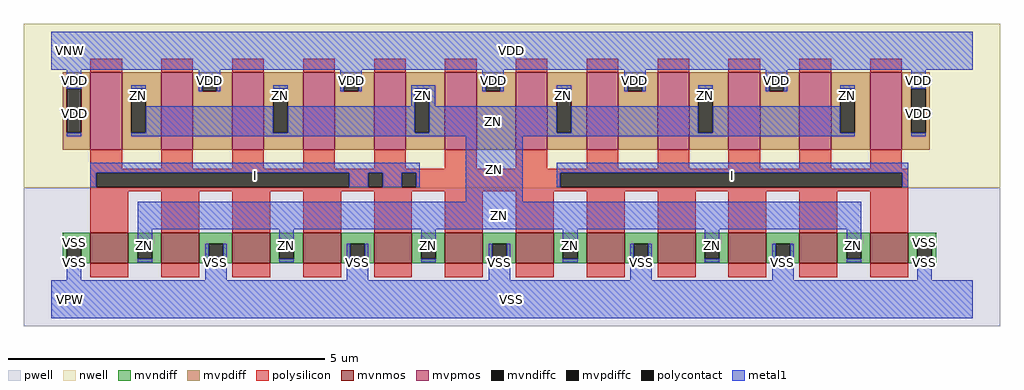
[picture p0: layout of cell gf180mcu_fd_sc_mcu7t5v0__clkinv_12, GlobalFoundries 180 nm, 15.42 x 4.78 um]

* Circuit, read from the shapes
.subckt gf180mcu_fd_sc_mcu7t5v0__clkinv_12 I ZN VDD VNW VPW VSS
XM1 ZN I VSS VPW nfet_06v0 w=0.48u l=0.6u m=12
XM2 ZN I VDD VNW pfet_06v0 w=1.22u l=0.5u m=12
.ends

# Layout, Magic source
magic
tech gf180mcuD
magscale 1 10
<< nwell >>
rect -86 352 2998 870
<< pwell >>
rect -86 -86 2998 352
<< mvnmos >>
rect 124 113 244 209
rect 348 113 468 209
rect 572 113 692 209
rect 796 113 916 209
rect 1020 113 1140 209
rect 1244 113 1364 209
rect 1468 113 1588 209
rect 1692 113 1812 209
rect 1916 113 2036 209
rect 2140 113 2260 209
rect 2364 113 2484 209
rect 2588 113 2708 209
<< mvpmos >>
rect 124 472 224 716
rect 348 472 448 716
rect 572 472 672 716
rect 796 472 896 716
rect 1020 472 1120 716
rect 1244 472 1344 716
rect 1468 472 1568 716
rect 1692 472 1792 716
rect 1916 472 2016 716
rect 2140 472 2240 716
rect 2364 472 2464 716
rect 2588 472 2688 716
<< mvndiff >>
rect 36 174 124 209
rect 36 128 49 174
rect 95 128 124 174
rect 36 113 124 128
rect 244 174 348 209
rect 244 128 273 174
rect 319 128 348 174
rect 244 113 348 128
rect 468 174 572 209
rect 468 128 497 174
rect 543 128 572 174
rect 468 113 572 128
rect 692 174 796 209
rect 692 128 721 174
rect 767 128 796 174
rect 692 113 796 128
rect 916 174 1020 209
rect 916 128 945 174
rect 991 128 1020 174
rect 916 113 1020 128
rect 1140 174 1244 209
rect 1140 128 1169 174
rect 1215 128 1244 174
rect 1140 113 1244 128
rect 1364 174 1468 209
rect 1364 128 1393 174
rect 1439 128 1468 174
rect 1364 113 1468 128
rect 1588 174 1692 209
rect 1588 128 1617 174
rect 1663 128 1692 174
rect 1588 113 1692 128
rect 1812 174 1916 209
rect 1812 128 1841 174
rect 1887 128 1916 174
rect 1812 113 1916 128
rect 2036 174 2140 209
rect 2036 128 2065 174
rect 2111 128 2140 174
rect 2036 113 2140 128
rect 2260 174 2364 209
rect 2260 128 2289 174
rect 2335 128 2364 174
rect 2260 113 2364 128
rect 2484 174 2588 209
rect 2484 128 2513 174
rect 2559 128 2588 174
rect 2484 113 2588 128
rect 2708 174 2796 209
rect 2708 128 2737 174
rect 2783 128 2796 174
rect 2708 113 2796 128
<< mvpdiff >>
rect 36 665 124 716
rect 36 525 49 665
rect 95 525 124 665
rect 36 472 124 525
rect 224 665 348 716
rect 224 525 253 665
rect 299 525 348 665
rect 224 472 348 525
rect 448 703 572 716
rect 448 657 477 703
rect 523 657 572 703
rect 448 472 572 657
rect 672 665 796 716
rect 672 525 701 665
rect 747 525 796 665
rect 672 472 796 525
rect 896 703 1020 716
rect 896 657 925 703
rect 971 657 1020 703
rect 896 472 1020 657
rect 1120 665 1244 716
rect 1120 525 1149 665
rect 1195 525 1244 665
rect 1120 472 1244 525
rect 1344 703 1468 716
rect 1344 657 1373 703
rect 1419 657 1468 703
rect 1344 472 1468 657
rect 1568 665 1692 716
rect 1568 525 1597 665
rect 1643 525 1692 665
rect 1568 472 1692 525
rect 1792 703 1916 716
rect 1792 657 1821 703
rect 1867 657 1916 703
rect 1792 472 1916 657
rect 2016 665 2140 716
rect 2016 525 2045 665
rect 2091 525 2140 665
rect 2016 472 2140 525
rect 2240 703 2364 716
rect 2240 657 2269 703
rect 2315 657 2364 703
rect 2240 472 2364 657
rect 2464 665 2588 716
rect 2464 525 2493 665
rect 2539 525 2588 665
rect 2464 472 2588 525
rect 2688 665 2776 716
rect 2688 525 2717 665
rect 2763 525 2776 665
rect 2688 472 2776 525
<< mvndiffc >>
rect 49 128 95 174
rect 273 128 319 174
rect 497 128 543 174
rect 721 128 767 174
rect 945 128 991 174
rect 1169 128 1215 174
rect 1393 128 1439 174
rect 1617 128 1663 174
rect 1841 128 1887 174
rect 2065 128 2111 174
rect 2289 128 2335 174
rect 2513 128 2559 174
rect 2737 128 2783 174
<< mvpdiffc >>
rect 49 525 95 665
rect 253 525 299 665
rect 477 657 523 703
rect 701 525 747 665
rect 925 657 971 703
rect 1149 525 1195 665
rect 1373 657 1419 703
rect 1597 525 1643 665
rect 1821 657 1867 703
rect 2045 525 2091 665
rect 2269 657 2315 703
rect 2493 525 2539 665
rect 2717 525 2763 665
<< polysilicon >>
rect 124 716 224 760
rect 348 716 448 760
rect 572 716 672 760
rect 796 716 896 760
rect 1020 716 1120 760
rect 1244 716 1344 760
rect 1468 716 1568 760
rect 1692 716 1792 760
rect 1916 716 2016 760
rect 2140 716 2240 760
rect 2364 716 2464 760
rect 2588 716 2688 760
rect 124 412 224 472
rect 348 412 448 472
rect 572 412 672 472
rect 796 412 896 472
rect 1020 412 1120 472
rect 1244 412 1344 472
rect 1468 412 1568 472
rect 1692 412 1792 472
rect 1916 412 2016 472
rect 2140 412 2240 472
rect 2364 412 2464 472
rect 2588 412 2688 472
rect 124 399 2708 412
rect 124 353 143 399
rect 941 353 1001 399
rect 1047 353 1107 399
rect 1153 353 1609 399
rect 2689 353 2708 399
rect 124 340 2708 353
rect 124 209 244 340
rect 348 209 468 340
rect 572 209 692 340
rect 796 209 916 340
rect 1020 209 1140 340
rect 1244 209 1364 340
rect 1468 209 1588 340
rect 1692 209 1812 340
rect 1916 209 2036 340
rect 2140 209 2260 340
rect 2364 209 2484 340
rect 2588 209 2708 340
rect 124 69 244 113
rect 348 69 468 113
rect 572 69 692 113
rect 796 69 916 113
rect 1020 69 1140 113
rect 1244 69 1364 113
rect 1468 69 1588 113
rect 1692 69 1812 113
rect 1916 69 2036 113
rect 2140 69 2260 113
rect 2364 69 2484 113
rect 2588 69 2708 113
<< polycontact >>
rect 143 353 941 399
rect 1001 353 1047 399
rect 1107 353 1153 399
rect 1609 353 2689 399
<< metal1 >>
rect 0 724 2912 844
rect 49 665 95 724
rect 466 703 534 724
rect 49 514 95 525
rect 253 665 299 676
rect 466 657 477 703
rect 523 657 534 703
rect 914 703 982 724
rect 466 656 534 657
rect 701 665 747 676
rect 299 525 701 610
rect 914 657 925 703
rect 971 657 982 703
rect 1362 703 1430 724
rect 914 656 982 657
rect 1138 665 1214 676
rect 1138 610 1149 665
rect 747 525 1149 610
rect 1195 609 1214 665
rect 1362 657 1373 703
rect 1419 657 1430 703
rect 1810 703 1878 724
rect 1362 656 1430 657
rect 1597 665 1643 676
rect 1195 525 1597 609
rect 1810 657 1821 703
rect 1867 657 1878 703
rect 2258 703 2326 724
rect 1810 656 1878 657
rect 2045 665 2091 676
rect 1643 525 2045 609
rect 2258 657 2269 703
rect 2315 657 2326 703
rect 2258 656 2326 657
rect 2493 665 2539 676
rect 2091 525 2493 609
rect 253 514 2539 525
rect 2717 665 2763 724
rect 2717 514 2763 525
rect 124 399 1164 430
rect 124 353 143 399
rect 941 353 1001 399
rect 1047 353 1107 399
rect 1153 353 1164 399
rect 1310 307 1490 514
rect 1598 399 2708 430
rect 1598 353 1609 399
rect 2689 353 2708 399
rect 273 220 2559 307
rect 49 174 95 185
rect 49 60 95 128
rect 273 174 319 220
rect 721 174 767 220
rect 1169 174 1215 220
rect 1617 174 1663 220
rect 2065 174 2111 220
rect 2513 174 2559 220
rect 273 117 319 128
rect 486 128 497 174
rect 543 128 554 174
rect 486 60 554 128
rect 721 117 767 128
rect 934 128 945 174
rect 991 128 1002 174
rect 934 60 1002 128
rect 1169 117 1215 128
rect 1382 128 1393 174
rect 1439 128 1450 174
rect 1382 60 1450 128
rect 1617 117 1663 128
rect 1830 128 1841 174
rect 1887 128 1898 174
rect 1830 60 1898 128
rect 2065 117 2111 128
rect 2278 128 2289 174
rect 2335 128 2346 174
rect 2278 60 2346 128
rect 2513 117 2559 128
rect 2737 174 2783 185
rect 2737 60 2783 128
rect 0 -60 2912 60
<< labels >>
flabel metal1 s 0 724 2912 844 0 FreeSans 600 0 0 0 VDD
port 3 nsew power bidirectional abutment
flabel metal1 s 2737 174 2783 185 0 FreeSans 600 0 0 0 VSS
port 6 nsew ground bidirectional abutment
flabel metal1 s 2493 610 2539 676 0 FreeSans 600 0 0 0 ZN
port 2 nsew default output
flabel metal1 s 124 353 1164 430 0 FreeSans 600 0 0 0 I
port 1 nsew default input
flabel nwell s 10 734 110 834 0 FreeSans 400 0 0 0 VNW
port 4 nsew power bidirectional
flabel pwell s 10 -50 110 50 0 FreeSans 400 0 0 0 VPW
port 5 nsew ground bidirectional
rlabel metal1 s 1598 353 2708 430 1 I
port 1 nsew default input
rlabel metal1 s 2045 610 2091 676 1 ZN
port 2 nsew default output
rlabel metal1 s 1597 610 1643 676 1 ZN
port 2 nsew default output
rlabel metal1 s 1138 610 1214 676 1 ZN
port 2 nsew default output
rlabel metal1 s 701 610 747 676 1 ZN
port 2 nsew default output
rlabel metal1 s 253 610 299 676 1 ZN
port 2 nsew default output
rlabel metal1 s 2493 609 2539 610 1 ZN
port 2 nsew default output
rlabel metal1 s 2045 609 2091 610 1 ZN
port 2 nsew default output
rlabel metal1 s 1597 609 1643 610 1 ZN
port 2 nsew default output
rlabel metal1 s 253 609 1214 610 1 ZN
port 2 nsew default output
rlabel metal1 s 253 514 2539 609 1 ZN
port 2 nsew default output
rlabel metal1 s 1310 307 1490 514 1 ZN
port 2 nsew default output
rlabel metal1 s 273 220 2559 307 1 ZN
port 2 nsew default output
rlabel metal1 s 2513 117 2559 220 1 ZN
port 2 nsew default output
rlabel metal1 s 2065 117 2111 220 1 ZN
port 2 nsew default output
rlabel metal1 s 1617 117 1663 220 1 ZN
port 2 nsew default output
rlabel metal1 s 1169 117 1215 220 1 ZN
port 2 nsew default output
rlabel metal1 s 721 117 767 220 1 ZN
port 2 nsew default output
rlabel metal1 s 273 117 319 220 1 ZN
port 2 nsew default output
rlabel metal1 s 2717 656 2763 724 1 VDD
port 3 nsew power bidirectional abutment
rlabel metal1 s 2258 656 2326 724 1 VDD
port 3 nsew power bidirectional abutment
rlabel metal1 s 1810 656 1878 724 1 VDD
port 3 nsew power bidirectional abutment
rlabel metal1 s 1362 656 1430 724 1 VDD
port 3 nsew power bidirectional abutment
rlabel metal1 s 914 656 982 724 1 VDD
port 3 nsew power bidirectional abutment
rlabel metal1 s 466 656 534 724 1 VDD
port 3 nsew power bidirectional abutment
rlabel metal1 s 49 656 95 724 1 VDD
port 3 nsew power bidirectional abutment
rlabel metal1 s 2717 514 2763 656 1 VDD
port 3 nsew power bidirectional abutment
rlabel metal1 s 49 514 95 656 1 VDD
port 3 nsew power bidirectional abutment
rlabel metal1 s 49 174 95 185 1 VSS
port 6 nsew ground bidirectional abutment
rlabel metal1 s 2737 60 2783 174 1 VSS
port 6 nsew ground bidirectional abutment
rlabel metal1 s 2278 60 2346 174 1 VSS
port 6 nsew ground bidirectional abutment
rlabel metal1 s 1830 60 1898 174 1 VSS
port 6 nsew ground bidirectional abutment
rlabel metal1 s 1382 60 1450 174 1 VSS
port 6 nsew ground bidirectional abutment
rlabel metal1 s 934 60 1002 174 1 VSS
port 6 nsew ground bidirectional abutment
rlabel metal1 s 486 60 554 174 1 VSS
port 6 nsew ground bidirectional abutment
rlabel metal1 s 49 60 95 174 1 VSS
port 6 nsew ground bidirectional abutment
rlabel metal1 s 0 -60 2912 60 1 VSS
port 6 nsew ground bidirectional abutment
<< properties >>
string FIXED_BBOX 0 0 2912 784
string GDS_END 838542
string GDS_FILE $PDKPATH/libs.ref/gf180mcu_fd_sc_mcu7t5v0/gds/gf180mcu_fd_sc_mcu7t5v0.gds
string GDS_START 831674
string LEFclass core
string LEFsite GF018hv5v_mcu_sc7
string LEFsymmetry X Y
<< end >>
